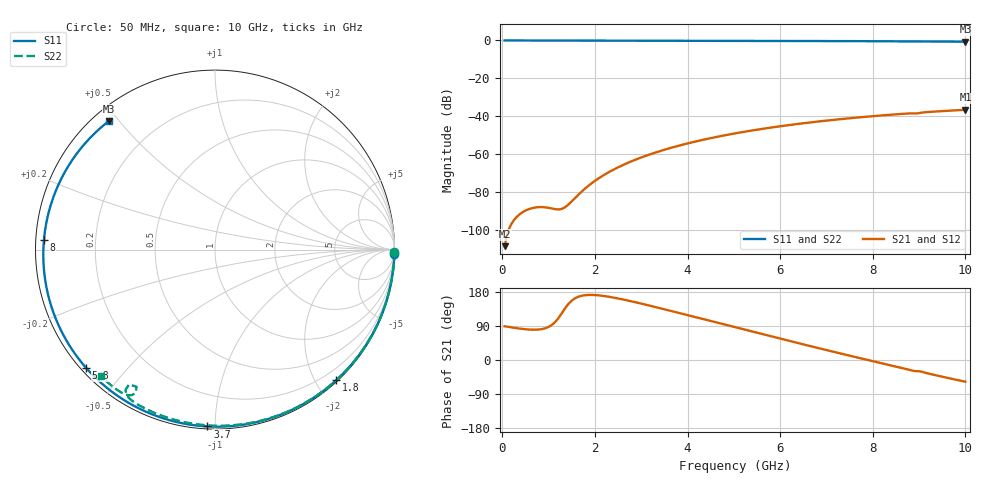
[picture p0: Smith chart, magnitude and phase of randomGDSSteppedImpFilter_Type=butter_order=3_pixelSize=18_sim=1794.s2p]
! freq	dB(S11)	phase(S11)	dB(S12)	phase(S12)
!  dB(S21)	phase(S21)	dB(S22)	phase(S22)
!S-par simulation data
#  GHz  S  DB  R 50
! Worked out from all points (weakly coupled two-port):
!   200 points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, 50 MHz to 10 GHz, reference 50 ohm
!   highest |S21| = -36.59 dB at 10 GHz (marker M1); lowest = -108.6 dB at 50 MHz (marker M2)
!   lowest |S11| = -0.6 dB at 10 GHz (marker M3), VSWR 27.04, Z = 2.26 + j23.6 ohm
!   |S11| at or under -10 dB: nowhere
!   |S22| runs from -1.1 to 0.0 dB; largest |S21 - S12| = 0
!   S11 on the Smith chart (normalised r, x): 50 MHz: 0, -85; 1.8 GHz: 0.02, -2.29; 3.7 GHz: 0.01, -0.96; 5.8 GHz: 0.01, -0.39; 8 GHz: 0.02, +0.03; 10 GHz: 0.05, +0.47
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0.05  -0.00 -1.4  -108.62 89.0  -108.62 89.0  -0.00 -0.8
0.85  -0.03 -22.6  -87.98 81.5  -87.98 81.5  -0.02 -12.9
1.7  -0.06 -44.6  -80.08 169.1  -80.08 169.1  -0.03 -25.7
1.75  -0.06 -45.9  -78.97 170.4  -78.97 170.4  -0.03 -26.4
1.8  -0.06 -47.1  -77.91 171.2  -77.91 171.2  -0.03 -27.2
2.1  -0.07 -54.6  -72.48 170.3  -72.48 170.3  -0.04 -31.6
2.45  -0.08 -63.2  -67.59 163.6  -67.59 163.6  -0.05 -36.7
2.9  -0.09 -74.0  -62.72 151.7  -62.72 151.7  -0.06 -43.2
3.4  -0.11 -85.6  -58.45 137.0  -58.45 137.0  -0.07 -50.3
3.7  -0.12 -92.4  -56.30 127.8  -56.30 127.8  -0.07 -54.5
4.35  -0.15 -106.8  -52.37 107.5  -52.37 107.5  -0.09 -63.4
5.05  -0.18 -121.8  -48.96 85.7  -48.96 85.7  -0.11 -72.7
5.8  -0.22 -137.4  -46.00 62.5  -46.00 62.5  -0.14 -82.5
6.7  -0.29 -155.9  -43.14 35.1  -43.14 35.1  -0.18 -93.8
7.35  -0.34 -169.5  -41.43 15.8  -41.43 15.8  -0.22 -101.7
8  -0.40 176.7  -39.97 -3.1  -39.97 -3.1  -0.26 -109.6
8.35  -0.44 169.0  -39.28 -13.2  -39.28 -13.2  -0.29 -113.9
8.75  -0.49 160.0  -38.59 -24.7  -38.59 -24.7  -0.37 -119.5
8.95  -0.51 155.3  -38.55 -29.7  -38.55 -29.7  -1.01 -122.5
9  -0.51 154.2  -38.39 -29.5  -38.39 -29.5  -1.10 -119.7
9.15  -0.53 150.6  -37.86 -34.1  -37.86 -34.1  -0.50 -120.8
10  -0.64 129.4  -36.59 -57.3  -36.59 -57.3  -0.46 -131.9
